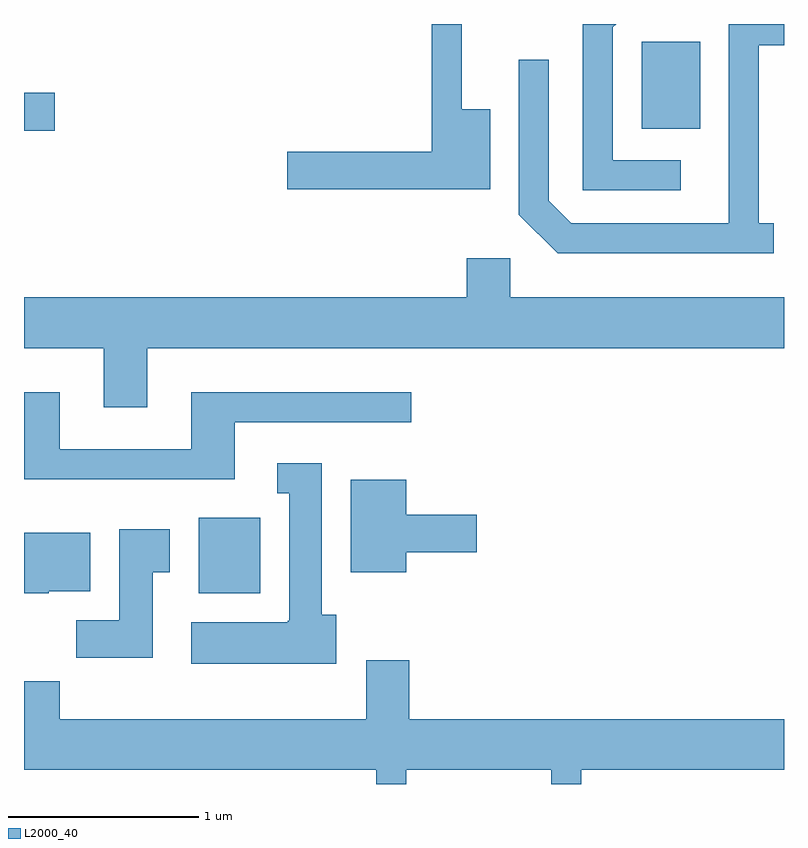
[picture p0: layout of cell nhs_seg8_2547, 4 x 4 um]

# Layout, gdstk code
import gdstk
lib = gdstk.Library(unit=1e-6, precision=1e-09)
def R(c, l, rs):  # rectangles x0, y0, x1, y1
    for r in rs: c.add(gdstk.rectangle(r[:2], r[2:], *l))
def P(c, l, *ps):  # polygons
    for p in ps: c.add(gdstk.Polygon(p, *l))
L2000_40 = (2000, 40)

nhs_seg8_2547 = lib.new_cell('nhs_seg8_2547')
R(nhs_seg8_2547, L2000_40, [(262.531,1837.346,262.854,1837.744), (261.611,1839.781,261.774,1839.979), (264.861,1839.791,265.169,1840.249)])
P(nhs_seg8_2547, L2000_40, [(265.558,1839.294),(265.479,1839.294),(265.479,1840.231),(265.611,1840.231),(265.611,1840.342),(265.321,1840.342),(265.321,1839.294),(264.492,1839.294),(264.374,1839.412),(264.374,1840.153),(264.216,1840.153),(264.216,1839.339),(264.419,1839.136),(265.558,1839.136)],
  [(264.064,1839.894),(263.914,1839.894),(263.914,1840.342),(263.756,1840.342),(263.756,1839.669),(262.996,1839.669),(262.996,1839.471),(264.064,1839.471)],
  [(265.068,1839.624),(264.709,1839.624),(264.709,1840.324),(264.727,1840.342),(264.551,1840.342),(264.551,1839.466),(265.068,1839.466)],
  [(262.259,1838.636),(265.611,1838.636),(265.611,1838.904),(264.169,1838.904),(264.169,1839.109),(263.941,1839.109),(263.941,1838.904),(261.611,1838.904),(261.611,1838.636),(262.031,1838.636),(262.031,1838.326),(262.259,1838.326)],
  [(262.719,1838.246),(263.648,1838.246),(263.648,1838.404),(262.491,1838.404),(262.491,1838.104),(261.799,1838.104),(261.799,1838.404),(261.611,1838.404),(261.611,1837.946),(262.719,1837.946)],
  [(263.254,1837.234),(263.179,1837.234),(263.179,1838.029),(262.943,1838.029),(262.943,1837.871),(263.006,1837.871),(263.006,1837.2),(263,1837.2),(263,1837.194),(262.491,1837.194),(262.491,1836.976),(263.254,1836.976)],
  [(263.624,1837.561),(263.994,1837.561),(263.994,1837.759),(263.624,1837.759),(263.624,1837.944),(263.331,1837.944),(263.331,1837.456),(263.624,1837.456)],
  [(262.289,1837.456),(262.379,1837.456),(262.379,1837.684),(262.111,1837.684),(262.111,1837.204),(261.886,1837.204),(261.886,1837.006),(262.289,1837.006)],
  [(261.74,1837.356),(261.959,1837.356),(261.959,1837.664),(261.611,1837.664),(261.611,1837.346),(261.74,1837.346)],
  [(263.624,1836.416),(264.386,1836.416),(264.386,1836.342),(264.544,1836.342),(264.544,1836.416),(265.611,1836.416),(265.611,1836.684),(263.639,1836.684),(263.639,1836.994),(263.411,1836.994),(263.411,1836.684),(261.799,1836.684),(261.799,1836.884),(261.611,1836.884),(261.611,1836.416),(263.466,1836.416),(263.466,1836.342),(263.624,1836.342)])

lib.write_gds('nhs_seg8_2547.gds')
